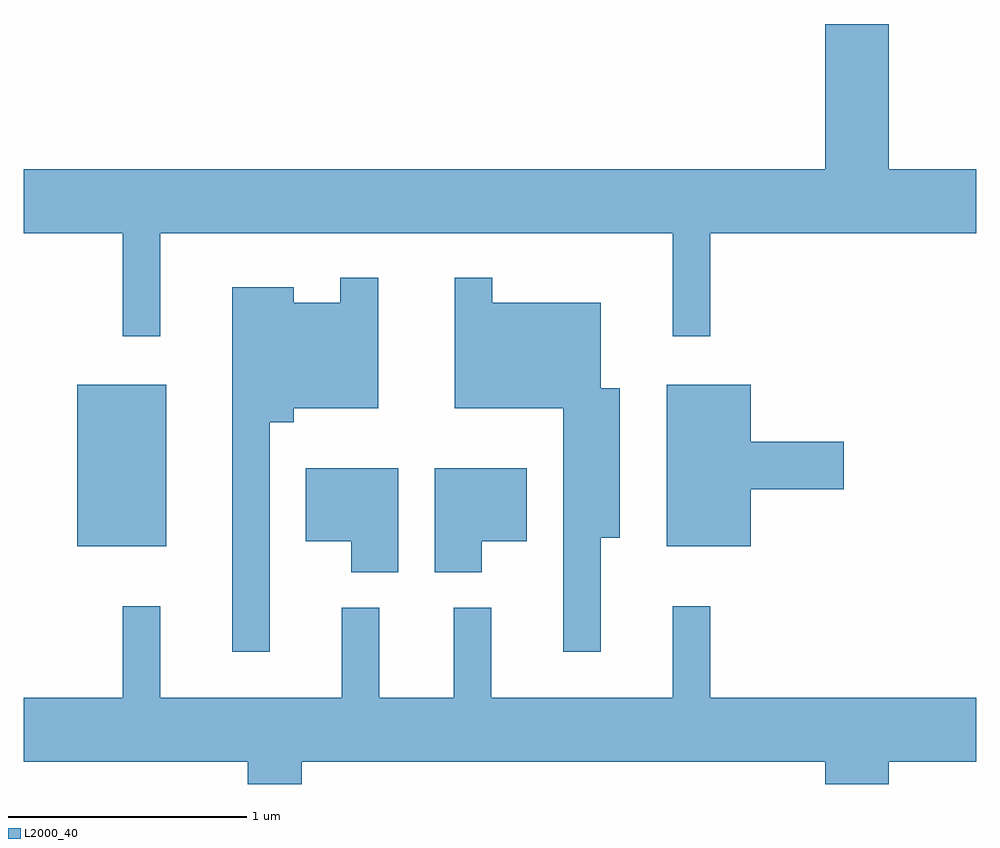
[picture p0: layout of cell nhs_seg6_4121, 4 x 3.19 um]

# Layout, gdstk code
import gdstk
lib = gdstk.Library(unit=1e-6, precision=1e-09)
def R(c, l, rs):  # rectangles x0, y0, x1, y1
    for r in rs: c.add(gdstk.rectangle(r[:2], r[2:], *l))
def P(c, l, *ps):  # polygons
    for p in ps: c.add(gdstk.Polygon(p, *l))
L2000_40 = (2000, 40)

nhs_seg6_4121 = lib.new_cell('nhs_seg6_4121')
R(nhs_seg6_4121, L2000_40, [(311.836,1553.161,312.209,1553.839)])
P(nhs_seg6_4121, L2000_40, [(312.184,1554.476),(314.336,1554.476),(314.336,1554.043),(314.494,1554.043),(314.494,1554.476),(315.611,1554.476),(315.611,1554.744),(315.244,1554.744),(315.244,1555.354),(314.976,1555.354),(314.976,1554.744),(311.611,1554.744),(311.611,1554.476),(312.026,1554.476),(312.026,1554.043),(312.184,1554.043)],
  [(314.034,1553.196),(314.114,1553.196),(314.114,1553.824),(314.034,1553.824),(314.034,1554.184),(313.579,1554.184),(313.579,1554.288),(313.421,1554.288),(313.421,1553.741),(313.876,1553.741),(313.876,1552.718),(314.034,1552.718)],
  [(312.644,1553.681),(312.744,1553.681),(312.744,1553.741),(313.099,1553.741),(313.099,1554.288),(312.941,1554.288),(312.941,1554.184),(312.744,1554.184),(312.744,1554.249),(312.486,1554.249),(312.486,1552.718),(312.644,1552.718)],
  [(314.664,1553.401),(315.054,1553.401),(315.054,1553.599),(314.664,1553.599),(314.664,1553.839),(314.311,1553.839),(314.311,1553.161),(314.664,1553.161)],
  [(313.534,1553.181),(313.724,1553.181),(313.724,1553.489),(313.336,1553.489),(313.336,1553.051),(313.534,1553.051)],
  [(313.184,1553.489),(312.796,1553.489),(312.796,1553.181),(312.986,1553.181),(312.986,1553.051),(313.184,1553.051)],
  [(312.779,1552.256),(314.976,1552.256),(314.976,1552.162),(315.244,1552.162),(315.244,1552.256),(315.611,1552.256),(315.611,1552.524),(314.494,1552.524),(314.494,1552.908),(314.336,1552.908),(314.336,1552.524),(313.574,1552.524),(313.574,1552.903),(313.416,1552.903),(313.416,1552.524),(313.104,1552.524),(313.104,1552.903),(312.946,1552.903),(312.946,1552.524),(312.184,1552.524),(312.184,1552.908),(312.026,1552.908),(312.026,1552.524),(311.611,1552.524),(311.611,1552.256),(312.551,1552.256),(312.551,1552.162),(312.779,1552.162)])

lib.write_gds('nhs_seg6_4121.gds')
